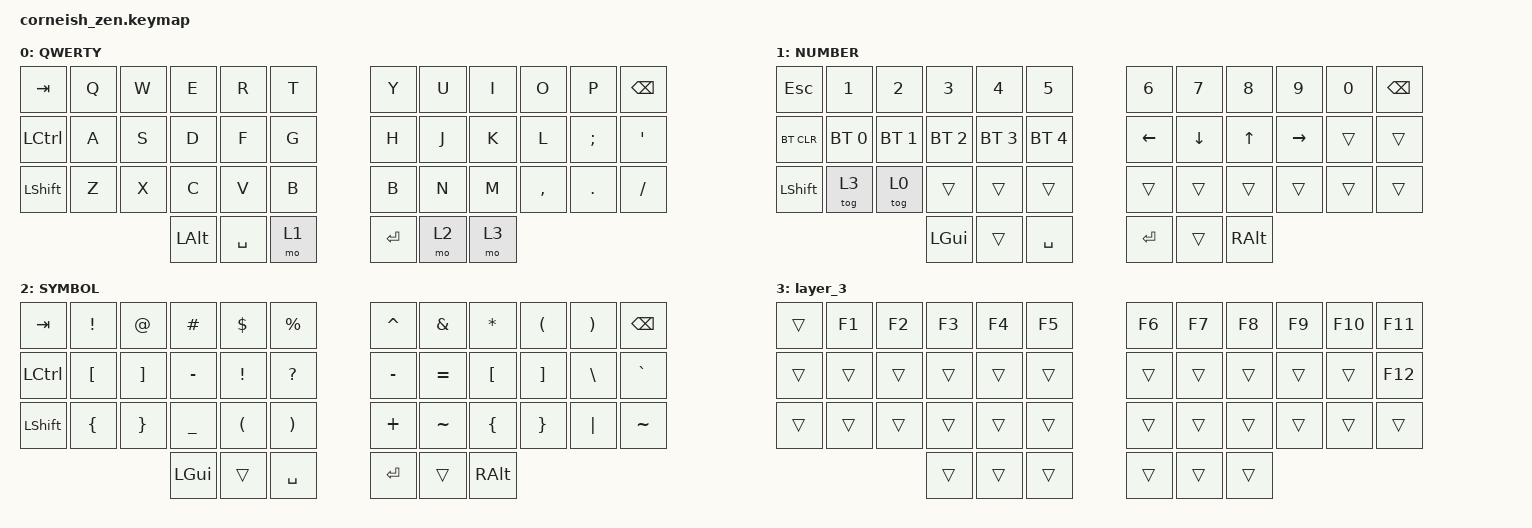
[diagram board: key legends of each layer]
/*
*
* Copyright (c) 2021 Darryl deHaan
* SPDX-License-Identifier: MIT
*
*/

#include <behaviors.dtsi>
#include <dt-bindings/zmk/bt.h>
#include <dt-bindings/zmk/keys.h>

/ {
    chosen {
        zmk,physical-layout = &foostan_corne_6col_layout;

        // zmk,physical-layout = &foostan_corne_5col_layout;
    };
};

/ {
    combos {
        compatible = "zmk,combos";

        enter {
            bindings = <&kp ENTER>;
            key-positions = <17 16>;
        };
    };

    keymap {
        compatible = "zmk,keymap";

        default_layer {
            display-name = "QWERTY";

            // --------------------------------------------------------------------------------
            // |  TAB |  Q  |  W  |  E  |  R  |  T  |   |  Y  |  U   |  I  |  O  |  P  | BSPC |
            // | CTRL |  A  |  S  |  D  |  F  |  G  |   |  H  |  J   |  K  |  L  |  ;  |  '   |
            // | SHFT |  Z  |  X  |  C  |  V  |  B  |   |  N  |  M   |  ,  |  .  |  /  | ESC  |
            //                    | GUI | LWR | SPC |   | ENT | RSE  | ALT |

            bindings = <
&kp TAB    &kp Q  &kp W  &kp E         &kp R      &kp T    &kp Y    &kp U  &kp I  &kp O      &kp P       &kp BSPC
&kp LCTRL  &kp A  &kp S  &kp D         &kp F      &kp G    &kp H    &kp J  &kp K  &kp L      &kp SEMI    &kp SQT
&kp LSHFT  &kp Z  &kp X  &kp C         &kp V      &kp B    &kp B    &kp N  &kp M  &kp COMMA  &kp PERIOD  &kp SLASH
                         &kp LEFT_ALT  &kp SPACE  &mo 1    &kp RET  &mo 2  &mo 3
            >;
        };

        lower_layer {
            display-name = "NUMBER";

            // -----------------------------------------------------------------------------------------
            // |  TAB |  1  |  2  |  3  |  4  |  5  |   |  6  |  7  |  8  |  9  |  0  | BSPC |
            // | BTCLR| BT1 | BT2 | BT3 | BT4 | BT5 |   | LFT | DWN |  UP | RGT |     |      |
            // | SHFT |     |     |     |     |     |   |     |     |     |     |     |      |
            //                    | GUI |     | SPC |   | ENT |     | ALT |

            bindings = <
&kp ESC     &kp N1        &kp N2        &kp N3        &kp N4        &kp N5          &kp N6    &kp N7    &kp N8    &kp N9     &kp N0  &kp BSPC
&bt BT_CLR  &bt BT_SEL 0  &bt BT_SEL 1  &bt BT_SEL 2  &bt BT_SEL 3  &bt BT_SEL 4    &kp LEFT  &kp DOWN  &kp UP    &kp RIGHT  &trans  &trans
&kp LSHFT   &tog 3        &tog 0        &trans        &trans        &trans          &trans    &trans    &trans    &trans     &trans  &trans
                                        &kp LGUI      &trans        &kp SPACE       &kp RET   &trans    &kp RALT
            >;
        };

        raise_layer {
            display-name = "SYMBOL";

            // -----------------------------------------------------------------------------------------
            // |  TAB |  !  |  @  |  #  |  $  |  %  |   |  ^  |  &  |  *  |  (  |  )  | BSPC |
            // | CTRL |     |     |     |     |     |   |  -  |  =  |  [  |  ]  |  \  |  `   |
            // | SHFT |     |     |     |     |     |   |  _  |  +  |  {  |  }  | "|" |  ~   |
            //                    | GUI |     | SPC |   | ENT |     | ALT |

            bindings = <
&kp TAB    &kp EXCL          &kp AT             &kp HASH        &kp DLLR              &kp PRCNT                &kp CARET  &kp AMPS   &kp ASTRK  &kp LPAR  &kp RPAR  &kp BSPC
&kp LCTRL  &kp LEFT_BRACKET  &kp RIGHT_BRACKET  &kp MINUS       &kp EXCL              &kp QUESTION             &kp MINUS  &kp EQUAL  &kp LBKT   &kp RBKT  &kp BSLH  &kp GRAVE
&kp LSHFT  &kp LEFT_BRACE    &kp RIGHT_BRACE    &kp UNDERSCORE  &kp LEFT_PARENTHESIS  &kp RIGHT_PARENTHESIS    &kp PLUS   &kp TILDE  &kp LBRC   &kp RBRC  &kp PIPE  &kp TILDE
                                                &kp LGUI        &trans                &kp SPACE                &kp RET    &trans     &kp RALT
            >;
        };

        layer_3 {
            bindings = <
&trans  &kp F1  &kp F2  &kp F3  &kp F4  &kp F5    &kp F6  &kp F7  &kp F8  &kp F9  &kp F10  &kp F11
&trans  &trans  &trans  &trans  &trans  &trans    &trans  &trans  &trans  &trans  &trans   &kp F12
&trans  &trans  &trans  &trans  &trans  &trans    &trans  &trans  &trans  &trans  &trans   &trans
                        &trans  &trans  &trans    &trans  &trans  &trans
            >;
        };
    };
};
